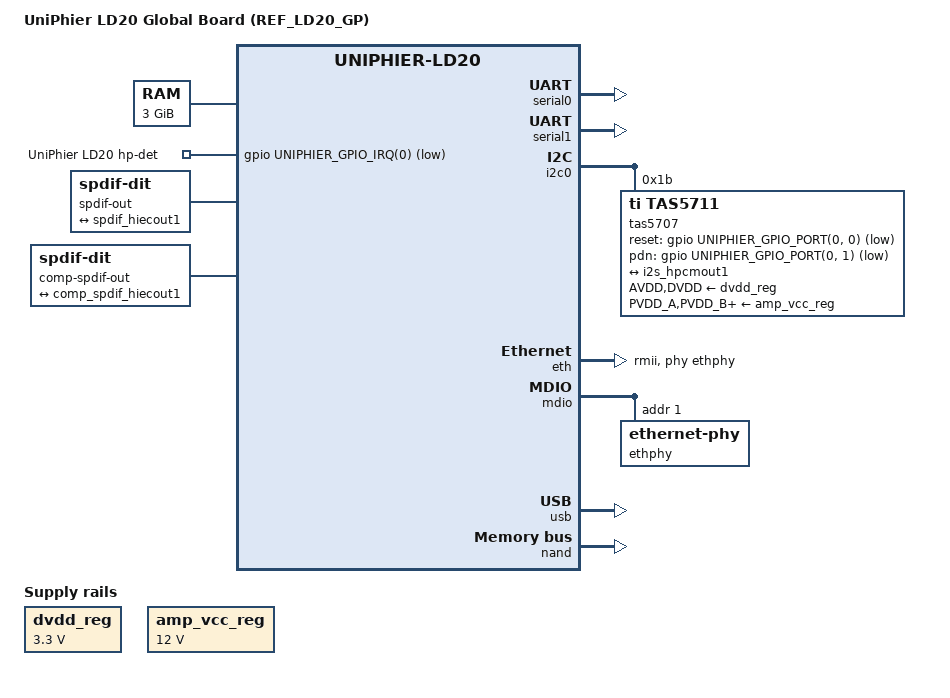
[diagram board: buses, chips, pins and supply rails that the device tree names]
// SPDX-License-Identifier: GPL-2.0+ OR MIT
//
// Device Tree Source for UniPhier LD20 Global Board
//
// Copyright (C) 2015-2017 Socionext Inc.
//   Author: Masahiro Yamada <yamada.masahiro@socionext.com>
//           Kunihiko Hayashi <hayashi.kunihiko@socionext.com>

/dts-v1/;
#include <dt-bindings/gpio/uniphier-gpio.h>
#include "uniphier-ld20.dtsi"

/ {
	model = "UniPhier LD20 Global Board (REF_LD20_GP)";
	compatible = "socionext,uniphier-ld20-global",
		     "socionext,uniphier-ld20";

	chosen {
		stdout-path = "serial0:115200n8";
	};

	aliases {
		serial0 = &serial0;
		serial1 = &serial1;
		serial2 = &serial2;
		serial3 = &serial3;
		i2c0 = &i2c0;
		i2c1 = &i2c1;
		i2c2 = &i2c2;
		i2c3 = &i2c3;
		i2c4 = &i2c4;
		i2c5 = &i2c5;
		ethernet0 = &eth;
	};

	memory@80000000 {
		device_type = "memory";
		reg = <0 0x80000000 0 0xc0000000>;
	};

	dvdd_reg: reg-fixed {
		compatible = "regulator-fixed";
		regulator-name = "DVDD";
		regulator-min-microvolt = <3300000>;
		regulator-max-microvolt = <3300000>;
	};

	amp_vcc_reg: reg-fixed {
		compatible = "regulator-fixed";
		regulator-name = "AMP_VCC";
		regulator-min-microvolt = <12000000>;
		regulator-max-microvolt = <12000000>;
	};

	sound {
		compatible = "audio-graph-card";
		label = "UniPhier LD20";
		widgets = "Headphone", "Headphones";
		dais = <&i2s_port2
			&i2s_port3
			&i2s_port4
			&spdif_port0
			&comp_spdif_port0>;
		hp-det-gpio = <&gpio UNIPHIER_GPIO_IRQ(0) GPIO_ACTIVE_LOW>;
	};

	spdif-out {
		compatible = "linux,spdif-dit";
		#sound-dai-cells = <0>;

		port@0 {
			spdif_tx: endpoint {
				remote-endpoint = <&spdif_hiecout1>;
			};
		};
	};

	comp-spdif-out {
		compatible = "linux,spdif-dit";
		#sound-dai-cells = <0>;

		port@0 {
			comp_spdif_tx: endpoint {
				remote-endpoint = <&comp_spdif_hiecout1>;
			};
		};
	};
};

&serial0 {
	status = "okay";
};

&serial1 {
	status = "okay";
};

&i2s_hpcmout1 {
	dai-format = "i2s";
	remote-endpoint = <&tas_speaker>;
};

&spdif_hiecout1 {
	remote-endpoint = <&spdif_tx>;
};

&comp_spdif_hiecout1 {
	remote-endpoint = <&comp_spdif_tx>;
};

&i2c0 {
	status = "okay";

	tas5707@1b {
		compatible = "ti,tas5711";
		reg = <0x1b>;
		reset-gpios = <&gpio UNIPHIER_GPIO_PORT(0, 0) GPIO_ACTIVE_LOW>;
		pdn-gpios = <&gpio UNIPHIER_GPIO_PORT(0, 1) GPIO_ACTIVE_LOW>;
		#sound-dai-cells = <0>;
		AVDD-supply = <&dvdd_reg>;
		DVDD-supply = <&dvdd_reg>;
		PVDD_A-supply = <&amp_vcc_reg>;
		PVDD_B-supply = <&amp_vcc_reg>;
		PVDD_C-supply = <&amp_vcc_reg>;
		PVDD_D-supply = <&amp_vcc_reg>;

		port@0 {
			tas_speaker: endpoint {
				dai-format = "i2s";
				remote-endpoint = <&i2s_hpcmout1>;
			};
		};
	};
};

&eth {
	status = "okay";
	phy-mode = "rmii";
	pinctrl-0 = <&pinctrl_ether_rmii>;
	phy-handle = <&ethphy>;
};

&mdio {
	ethphy: ethernet-phy@1 {
		reg = <1>;
	};
};

&usb {
	status = "okay";
};

&nand {
	status = "okay";
};
